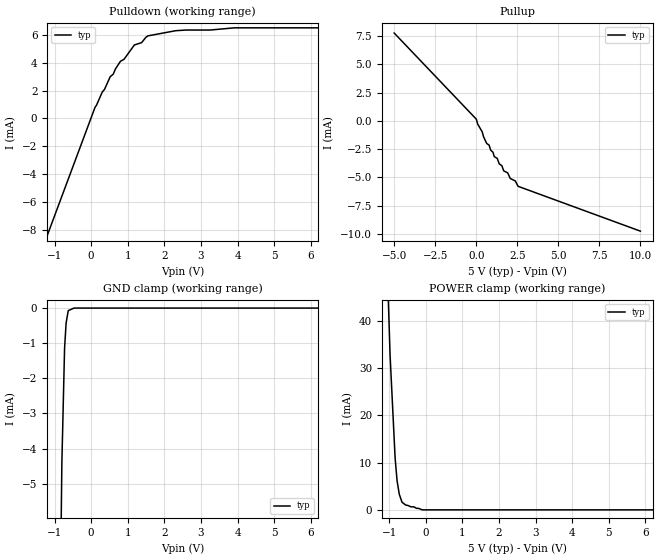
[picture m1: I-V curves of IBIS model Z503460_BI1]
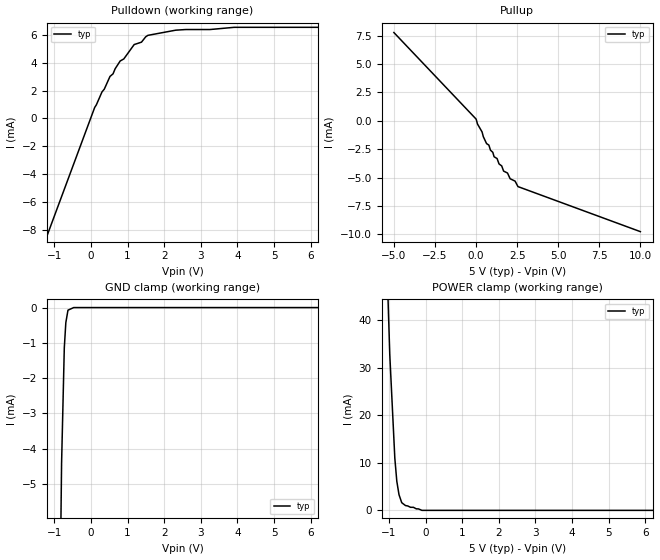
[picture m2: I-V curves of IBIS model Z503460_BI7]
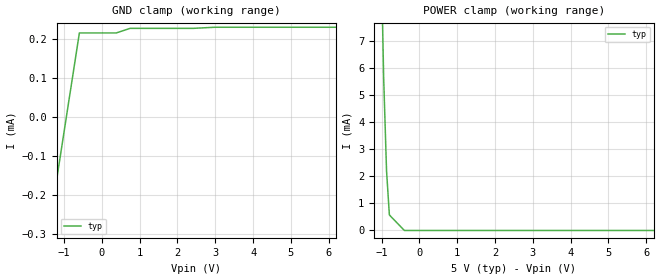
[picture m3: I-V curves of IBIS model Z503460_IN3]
| YOU ARE ONLY AUTHORIZED TO USE THIS SOFTWARE
| ACCORDING TO LICENSOR'S LICENSE RESTRICTIONS.
[IBIS Ver] 3.1
[File Name] mc14007up.ibs
[File Rev] 2.0
[Source] Measured and created by ICX Technology
[Date] Friday 7/14/00 9:07:51 AM
[Copyright]
| (C) COPYRIGHT 1993-2000
| MENTOR GRAPHICS CORPORATION
| ICX STANDARD LIBRARY, ICX PROJECT MODELING,
| ICX CUSTOM MODELING, ICX VENDOR MODEL
| ALL RIGHTS RESERVED.
| THE FOLLOWING ARE TRADEMARKS OR SERVICE MARKS OF
| MENTOR GRAPHICS CORPORATION:ICX (R), ICX STANDARD
| LIBRARY(R), ICX PROJECT MODELING(R), ICX CUSTOM
| MODELING(R), qualityIBIS(TM), MODELVIEWER(TM),
| AND MODELEDITOR(TM)
| ALL COPIES OF SOFTWARE, INCLUDING BUT NOT LIMITED TO
| ANY MODIFICATIONS, ENHANCEMENTS OR DERIVATIVE WORKS,
| MUST CONTAIN ALL MENTOR GRAPHICS CORPORATION'S
| NOTICES AND LEGENDS, INCLUDING THOSE EMBEDDED IN
| SOFTWARE AND THOSE AFFIXED TO SOFTWARE MEDIUM
| AND CONTAINER, AS RECEIVED FROM MENTOR GRAPHICS
| CORPORATION.
|  ZAP Model Builder 2.7
[Component] MC14007UP
[Manufacturer] OnSemiconductor
[Package]
| variable   typ   min   max
R_pkg  .21ohms NA NA
L_pkg  4.543nH NA NA
C_pkg  1.059pF NA NA
[Pin] signal_name  model_name  R_pin  L_pin C_pin
1 D_PB Z503460_BI1 .22 6.757n 1.432p
2 S_PB Z503460_BI2 .212 4.757n 1.142p
3 GATEB Z503460_IN3 .204 3.257n .852p
4 S_NB Z503460_BI2 .196 2.257n .562p
5 D_NB Z503460_BI1 .204 3.257n .852p
6 GATEA Z503460_IN4 .212 4.757n 1.142p
7 VSS POWER .22 6.757n 1.432p
8 D_NA Z503460_BI1 .22 6.757n 1.432p
9 S_NC Z503460_BI2 .212 4.757n 1.142p
10 GATE_C Z503460_IN5 .204 3.257n .852p
11 S_PC Z503460_BI2 .196 2.257n .562p
12 OUTC Z503460_OUT6 .204 3.257n .852p
13 D_PA Z503460_BI7 .212 4.757n 1.142p
14 VDD POWER .22 6.757n 1.432p
| Models and submodels in the file (7): Z503460_BI1 (I/O), Z503460_BI2 (I/O), Z503460_BI7 (I/O), Z503460_IN3 (Input), Z503460_IN4 (Input), Z503460_IN5 (Input), Z503460_OUT6 (Output)
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| (C) COPYRIGHT 1993-2000
| MENTOR GRAPHICS CORPORATION
| ICX STANDARD LIBRARY, ICX PROJECT MODELING,
| ICX CUSTOM MODELING, ICX VENDOR MODEL
| ALL RIGHTS RESERVED.
| THE FOLLOWING ARE TRADEMARKS OR SERVICE MARKS OF
| MENTOR GRAPHICS CORPORATION:ICX (R), ICX STANDARD
| LIBRARY(R), ICX PROJECT MODELING(R), ICX CUSTOM
| MODELING(R), qualityIBIS(TM), MODELVIEWER(TM),
| AND MODELEDITOR(TM)
| ALL COPIES OF SOFTWARE, INCLUDING BUT NOT LIMITED TO
| ANY MODIFICATIONS, ENHANCEMENTS OR DERIVATIVE WORKS,
| MUST CONTAIN ALL MENTOR GRAPHICS CORPORATION'S
| NOTICES AND LEGENDS, INCLUDING THOSE EMBEDDED IN
| SOFTWARE AND THOSE AFFIXED TO SOFTWARE MEDIUM
| AND CONTAINER, AS RECEIVED FROM MENTOR GRAPHICS
| CORPORATION.
| Model Application Version 1.89 2/18/99.
[Model] Z503460_BI1
Model_type I/O
Vinl=1.000V
Vinh=4.000V
Vref=0.000V
Rref=500.0Mohms
Cref=50.00pF
Vmeas=2.500V
C_comp 8.000pF NA NA
| variable typ   min   max
[Voltage Range] 5.000V NA NA
[POWER Clamp Reference] 5.000V NA NA
[Pullup Reference] 5.000V NA NA
[Pulldown Reference] 0.000V NA NA
[GND Clamp Reference] 0.000V NA NA
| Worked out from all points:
|   slope of the pulldown table from 0 to 0.75 V, typ, clamps not added: 194 ohm
|   slope of the pullup table from 0 to 0.75 V, typ, clamps not added: 331 ohm
|   GND clamp passes 1 mA (typ) near -0.72 V on its own axis
|   POWER clamp passes 1 mA (typ) near -0.54 V on its own axis
[GND Clamp]
-5V       -385.5mA   NA         NA
-799.5mV  -4.42mA    NA         NA
-725.2mV  -1.143mA   NA         NA
-683.4mV  -427.2uA   NA         NA
-625mV    -73.88uA   NA         NA
-468.8mV  0A         NA         NA
10V       0A         NA         NA
[Pulldown]
-5V       -35.28mA   NA         NA
104.6mV   788.3uA    NA         NA
522.2mV   3.009mA    NA         NA
605.4mV   3.194mA    NA         NA
800.8mV   4.116mA    NA         NA
898.5mV   4.26mA     NA         NA
1.182V    5.291mA    NA         NA
1.381V    5.462mA    NA         NA
1.555V    5.949mA    NA         NA
2.314V    6.32mA     NA         NA
3.911V    6.525mA    NA         NA
10V       6.525mA    NA         NA
[Pullup]
-5V       7.78mA     NA         NA
6mV       151.6uA    NA         NA
640mV     -2.005mA   NA         NA
781mV     -2.137mA   NA         NA
1.098V    -3.163mA   NA         NA
1.279V    -3.32mA    NA         NA
1.677V    -4.427mA   NA         NA
1.914V    -4.596mA   NA         NA
2.075V    -5.101mA   NA         NA
2.376V    -5.311mA   NA         NA
2.55V     -5.792mA   NA         NA
10V       -9.761mA   NA         NA
[POWER Clamp]
-5V       1.247A     NA         NA
-1.133V   71.27mA    NA         NA
-976mV    32.83mA    NA         NA
-838mV    10.98mA    NA         NA
-784mV    6.135mA    NA         NA
-724mV    3.299mA    NA         NA
-649mV    1.609mA    NA         NA
-547mV    1.011mA    NA         NA
-97.5mV   0A         NA         NA
10V       0A         NA         NA
[Ramp]
| variable typ min max
dV/dt_r 1.592/11.06n NA NA
dV/dt_f 1.592/8.937n NA NA
R_load = 500.0Ohms
| (C) COPYRIGHT 1993-2000
| MENTOR GRAPHICS CORPORATION
| ICX STANDARD LIBRARY, ICX PROJECT MODELING,
| ICX CUSTOM MODELING, ICX VENDOR MODEL
| ALL RIGHTS RESERVED.
| THE FOLLOWING ARE TRADEMARKS OR SERVICE MARKS OF
| MENTOR GRAPHICS CORPORATION:ICX (R), ICX STANDARD
| LIBRARY(R), ICX PROJECT MODELING(R), ICX CUSTOM
| MODELING(R), qualityIBIS(TM), MODELVIEWER(TM),
| AND MODELEDITOR(TM)
| ALL COPIES OF SOFTWARE, INCLUDING BUT NOT LIMITED TO
| ANY MODIFICATIONS, ENHANCEMENTS OR DERIVATIVE WORKS,
| MUST CONTAIN ALL MENTOR GRAPHICS CORPORATION'S
| NOTICES AND LEGENDS, INCLUDING THOSE EMBEDDED IN
| SOFTWARE AND THOSE AFFIXED TO SOFTWARE MEDIUM
| AND CONTAINER, AS RECEIVED FROM MENTOR GRAPHICS
| CORPORATION.
| Model Application Version 1.89 2/18/99.
[Model] Z503460_BI7
Model_type I/O
Vinl=1.000V
Vinh=4.000V
Vref=0.000V
Rref=500.0Mohms
Cref=50.00pF
Vmeas=2.500V
C_comp 8.000pF NA NA
| variable typ   min   max
[Voltage Range] 5.000V NA NA
[POWER Clamp Reference] 5.000V NA NA
[Pullup Reference] 5.000V NA NA
[Pulldown Reference] 0.000V NA NA
[GND Clamp Reference] 0.000V NA NA
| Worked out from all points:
|   slope of the pulldown table from 0 to 0.75 V, typ, clamps not added: 194 ohm
|   slope of the pullup table from 0 to 0.75 V, typ, clamps not added: 331 ohm
|   GND clamp passes 1 mA (typ) near -0.72 V on its own axis
|   POWER clamp passes 1 mA (typ) near -0.54 V on its own axis
[GND Clamp]
-5V       -385.5mA   NA         NA
-799.5mV  -4.42mA    NA         NA
-725.2mV  -1.143mA   NA         NA
-683.4mV  -427.2uA   NA         NA
-625mV    -73.88uA   NA         NA
-468.8mV  0A         NA         NA
10V       0A         NA         NA
[Pulldown]
-5V       -35.28mA   NA         NA
104.6mV   788.3uA    NA         NA
522.2mV   3.009mA    NA         NA
605.4mV   3.194mA    NA         NA
800.8mV   4.116mA    NA         NA
898.5mV   4.26mA     NA         NA
1.182V    5.291mA    NA         NA
1.381V    5.462mA    NA         NA
1.555V    5.949mA    NA         NA
2.314V    6.32mA     NA         NA
3.911V    6.525mA    NA         NA
10V       6.525mA    NA         NA
[Pullup]
-5V       7.78mA     NA         NA
6mV       151.6uA    NA         NA
640mV     -2.005mA   NA         NA
781mV     -2.137mA   NA         NA
1.098V    -3.163mA   NA         NA
1.279V    -3.32mA    NA         NA
1.677V    -4.427mA   NA         NA
1.914V    -4.596mA   NA         NA
2.075V    -5.101mA   NA         NA
2.376V    -5.311mA   NA         NA
2.55V     -5.792mA   NA         NA
10V       -9.761mA   NA         NA
[POWER Clamp]
-5V       1.247A     NA         NA
-1.133V   71.27mA    NA         NA
-976mV    32.83mA    NA         NA
-838mV    10.98mA    NA         NA
-784mV    6.135mA    NA         NA
-724mV    3.299mA    NA         NA
-649mV    1.609mA    NA         NA
-547mV    1.011mA    NA         NA
-97.5mV   0A         NA         NA
10V       0A         NA         NA
[Ramp]
| variable typ min max
dV/dt_r 1.592/10.90n NA NA
dV/dt_f 1.592/8.816n NA NA
R_load = 500.0Ohms
| (C) COPYRIGHT 1993-2000
| MENTOR GRAPHICS CORPORATION
| ICX STANDARD LIBRARY, ICX PROJECT MODELING,
| ICX CUSTOM MODELING, ICX VENDOR MODEL
| ALL RIGHTS RESERVED.
| THE FOLLOWING ARE TRADEMARKS OR SERVICE MARKS OF
| MENTOR GRAPHICS CORPORATION:ICX (R), ICX STANDARD
| LIBRARY(R), ICX PROJECT MODELING(R), ICX CUSTOM
| MODELING(R), qualityIBIS(TM), MODELVIEWER(TM),
| AND MODELEDITOR(TM)
| ALL COPIES OF SOFTWARE, INCLUDING BUT NOT LIMITED TO
| ANY MODIFICATIONS, ENHANCEMENTS OR DERIVATIVE WORKS,
| MUST CONTAIN ALL MENTOR GRAPHICS CORPORATION'S
| NOTICES AND LEGENDS, INCLUDING THOSE EMBEDDED IN
| SOFTWARE AND THOSE AFFIXED TO SOFTWARE MEDIUM
| AND CONTAINER, AS RECEIVED FROM MENTOR GRAPHICS
| CORPORATION.
| Model Application Version 1.89 2/18/99.
[Model] Z503460_IN3
Model_type Input
Vinl = 1.000V
Vinh = 4.000V
C_comp 4.000pF NA NA
| variable typ   min   max
[Voltage Range] 5.000V NA NA
[GND Clamp Reference] 0.000V NA NA
[POWER Clamp Reference] 5.000V NA NA
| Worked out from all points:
|   POWER clamp passes 1 mA (typ) near -0.81 V on its own axis
[GND Clamp]
-5V       -2.532mA   NA         NA
-595.5mV  214.9uA    NA         NA
380.9mV   214.9uA    NA         NA
747.3mV   226.6uA    NA         NA
2.421V    226.6uA    NA         NA
2.979V    229.4uA    NA         NA
10V       229.4uA    NA         NA
[POWER Clamp]
-5V       640.4mA    NA         NA
-1.269V   41.2mA     NA         NA
-1.094V   18.57mA    NA         NA
-1.005V   9.831mA    NA         NA
-946mV    5.681mA    NA         NA
-869mV    2.205mA    NA         NA
-794mV    573.8uA    NA         NA
-397mV    0A         NA         NA
10V       0A         NA         NA
